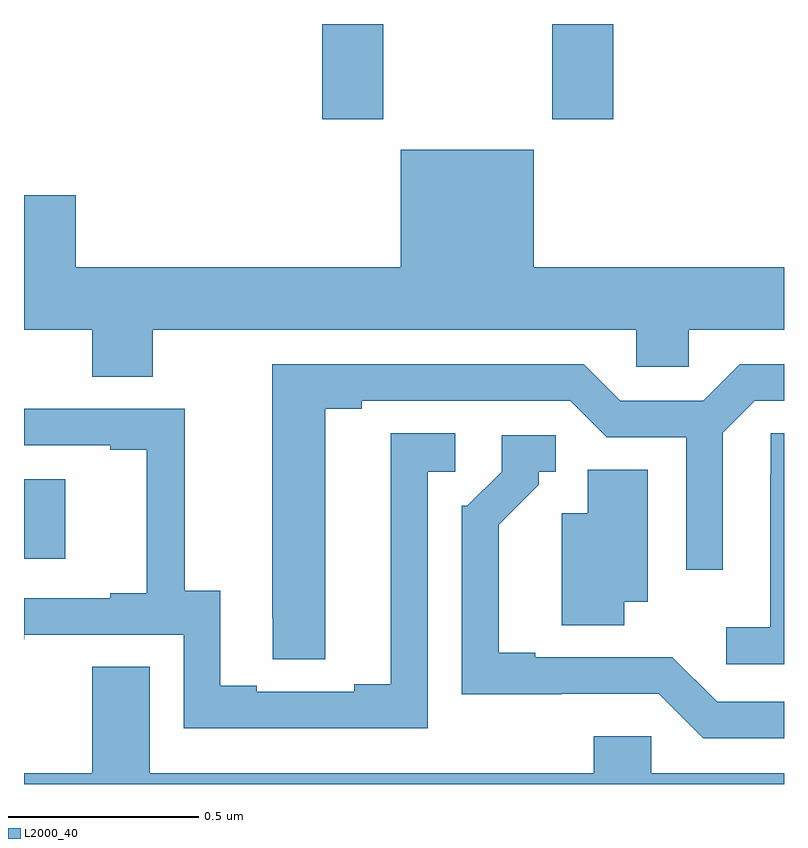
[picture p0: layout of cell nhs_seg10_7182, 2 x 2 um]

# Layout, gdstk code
import gdstk
lib = gdstk.Library(unit=1e-6, precision=1e-09)
def R(c, l, rs):  # rectangles x0, y0, x1, y1
    for r in rs: c.add(gdstk.rectangle(r[:2], r[2:], *l))
def P(c, l, *ps):  # polygons
    for p in ps: c.add(gdstk.Polygon(p, *l))
L2000_40 = (2000, 40)

nhs_seg10_7182 = lib.new_cell('nhs_seg10_7182')
R(nhs_seg10_7182, L2000_40, [(201,1253.093,201.109,1253.302), (201.785,1254.249,201.945,1254.5), (202.39,1254.249,202.55,1254.5)])
P(nhs_seg10_7182, L2000_40, [(201.339,1253.696),(202.611,1253.696),(202.611,1253.598),(202.749,1253.598),(202.749,1253.696),(203,1253.696),(203,1253.86),(202.342,1253.86),(202.342,1254.169),(201.992,1254.169),(201.992,1253.86),(201.136,1253.86),(201.136,1254.049),(201,1254.049),(201,1253.696),(201.179,1253.696),(201.179,1253.572),(201.339,1253.572)],
  [(201.793,1253.488),(201.889,1253.488),(201.889,1253.508),(202.437,1253.508),(202.533,1253.412),(202.743,1253.412),(202.743,1253.064),(202.839,1253.064),(202.839,1253.424),(202.923,1253.508),(203,1253.508),(203,1253.604),(202.883,1253.604),(202.787,1253.508),(202.569,1253.508),(202.473,1253.604),(201.653,1253.604),(201.653,1252.936),(201.654,1252.936),(201.654,1252.828),(201.793,1252.828)],
  [(202.062,1253.322),(202.135,1253.322),(202.135,1253.423),(201.965,1253.423),(201.965,1252.763),(201.869,1252.763),(201.869,1252.743),(201.613,1252.743),(201.613,1252.758),(201.517,1252.758),(201.517,1253.009),(201.423,1253.009),(201.423,1253.487),(201,1253.487),(201,1253.391),(201.227,1253.391),(201.227,1253.379),(201.323,1253.379),(201.323,1253.002),(201.227,1253.002),(201.227,1252.989),(201,1252.989),(201,1252.881),(201.001,1252.881),(201.001,1252.893),(201.42,1252.893),(201.42,1252.647),(202.062,1252.647)],
  [(203,1253.423),(202.965,1253.423),(202.965,1253.315),(202.964,1253.315),(202.964,1252.912),(202.848,1252.912),(202.848,1252.815),(203,1252.815)],
  [(203,1252.716),(202.824,1252.716),(202.706,1252.834),(202.61,1252.834),(202.61,1252.833),(202.345,1252.833),(202.345,1252.846),(202.249,1252.846),(202.249,1253.182),(202.354,1253.287),(202.354,1253.322),(202.399,1253.322),(202.399,1253.418),(202.257,1253.418),(202.257,1253.322),(202.167,1253.232),(202.152,1253.232),(202.152,1252.736),(202.415,1252.736),(202.415,1252.737),(202.671,1252.737),(202.788,1252.62),(203,1252.62)],
  [(202.579,1252.979),(202.642,1252.979),(202.642,1253.327),(202.484,1253.327),(202.484,1253.212),(202.415,1253.212),(202.415,1252.918),(202.579,1252.918)],
  [(203,1252.528),(202.65,1252.528),(202.65,1252.626),(202.499,1252.626),(202.499,1252.528),(201.331,1252.528),(201.331,1252.808),(201.179,1252.808),(201.179,1252.528),(201,1252.528),(201,1252.5),(203,1252.5)])

lib.write_gds('nhs_seg10_7182.gds')
